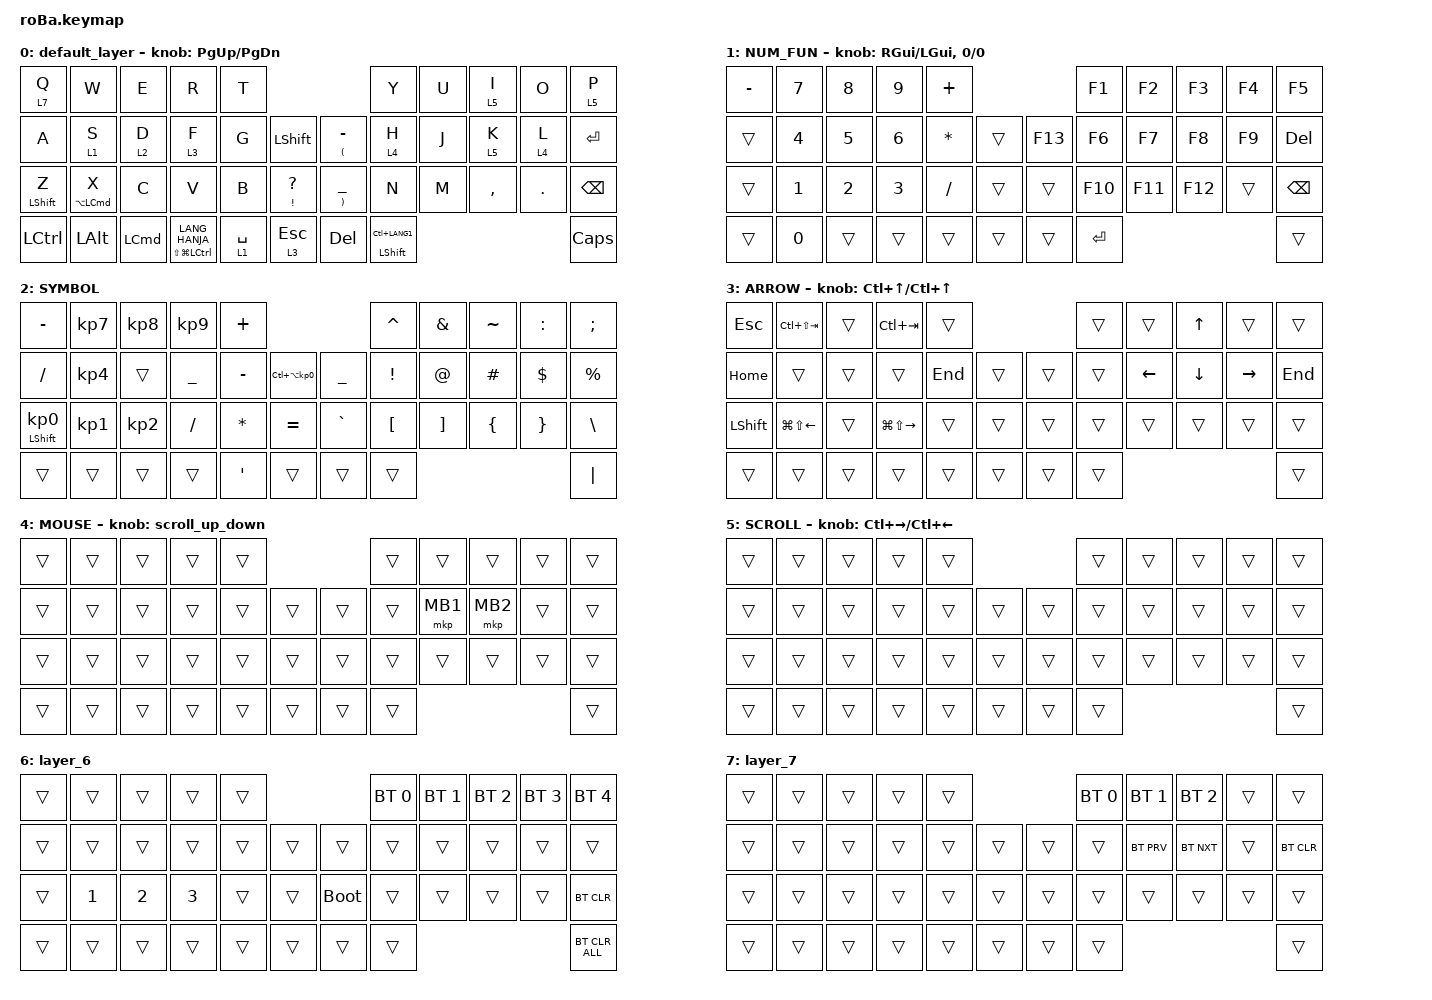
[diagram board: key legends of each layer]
#include <behaviors.dtsi>
#include <dt-bindings/zmk/bt.h>
#include <dt-bindings/zmk/keys.h>
#include <dt-bindings/zmk/pointing.h>

#define ZMK_MOUSE_DEFAULT_SCRL_VAL 140
#define MOUSE 4
#define SCROLL 5
#define NUM 6

&mt {
    flavor = "balanced";
    quick-tap-ms = <0>;
};

&inc_dec_kp {
    tap-ms = <40>;  // デフォルト5msから延長
};

&trackball {
    // automouse-layer = <4>;

    scroll-layers = <5>;

    // arrows {
    //     layers = <3>;
    //     bindings =
    //         <&kp RIGHT_ARROW>,
    //         <&kp LEFT_ARROW>,
    //         <&kp UP_ARROW>,
    //         <&kp DOWN_ARROW>;
    //     tick = <10>;
    //     wait-ms = <5>;
    //     tap-ms = <5>;
    // };
};

/ {
    combos {
        compatible = "zmk,combos";

        tab {
            bindings = <&kp TAB>;
            key-positions = <11 12>;
        };

        shift_tab {
            bindings = <&kp LS(TAB)>;
            key-positions = <12 13>;
        };

        muhennkann {
            bindings = <&to_layer_0 INT_MUHENKAN>;
            key-positions = <11 10>;
        };

        double_quotation {
            bindings = <&kp DOUBLE_QUOTES>;
            key-positions = <20 21>;
        };

        eq {
            bindings = <&kp EQUAL>;
            key-positions = <24 25>;
        };

        mouse3 {
            bindings = <&mkp MB3>;
            key-positions = <18 19>;
            layers = <4>;
        };
    };

    macros {
        to_layer_0: to_layer_0 {
            compatible = "zmk,behavior-macro-one-param";
            #binding-cells = <1>;
            bindings = <&to 0 &macro_param_1to1 &kp MACRO_PLACEHOLDER>;
            label = "TO_LAYER_0";
        };
    };

    behaviors {
        lt_to_layer_0: lt_to_layer_0 {
            compatible = "zmk,behavior-hold-tap";
            label = "LAYER_TAP_TO_0";
            bindings = <&mo>, <&to_layer_0>;

            #binding-cells = <2>;
            tapping-term-ms = <200>;
        };

        scroll_up_down: behavior_sensor_rotate_mouse_wheel_up_down {
            compatible = "zmk,behavior-sensor-rotate";
            #sensor-binding-cells = <0>;
            bindings = <&msc SCRL_UP>, <&msc SCRL_DOWN>;

            tap-ms = <20>;
        };
    };

    keymap {
        compatible = "zmk,keymap";

        default_layer {
            bindings = <
&lt 7 Q           &kp W                   &kp E             &kp R                         &kp T                                                                        &kp Y                     &kp U  &lt 5 I    &kp O    &lt 5 P
&kp A             &lt 1 S                 &lt 2 D           &lt 3 F                       &kp G        &kp LEFT_SHIFT                &mt LEFT_PARENTHESIS MINUS        &lt 4 H                   &kp J  &lt 5 K    &lt 4 L  &kp ENTER
&mt LEFT_SHIFT Z  &mt LA(LEFT_COMMAND) X  &kp C             &kp V                         &kp B        &mt EXCLAMATION QUESTION      &mt RIGHT_PARENTHESIS UNDERSCORE  &kp N                     &kp M  &kp COMMA  &kp DOT  &kp BACKSPACE
&kp LCTRL         &kp LEFT_ALT            &kp LEFT_COMMAND  &mt LS(LG(LCTRL)) LANG_HANJA  &lt 1 SPACE  &lt_to_layer_0 3 ESCAPE       &kp DELETE                        &mt LEFT_SHIFT LC(LANG1)                             &kp CAPSLOCK
            >;

            sensor-bindings = <&inc_dec_kp PG_UP PAGE_DOWN>;
        };

        NUM_FUN {
            bindings = <
&kp MINUS  &kp N7        &kp N8        &kp N9        &kp PLUS                           &kp F1     &kp F2   &kp F3   &kp F4  &kp F5
&trans     &kp NUMBER_4  &kp N5        &kp NUMBER_6  &kp ASTERISK  &trans      &kp F13  &kp F6     &kp F7   &kp F8   &kp F9  &kp DELETE
&trans     &kp NUMBER_1  &kp NUMBER_2  &kp NUMBER_3  &kp SLASH     &trans      &trans   &kp F10    &kp F11  &kp F12  &trans  &kp BACKSPACE
&trans     &kp N0        &trans        &trans        &trans        &trans      &trans   &kp ENTER                            &trans
            >;

            sensor-bindings = <&inc_dec_kp RGUI LGUI>, <&inc_dec_kp 0 0>;
        };

        SYMBOL {
            bindings = <
&kp MINUS                   &kp KP_NUMBER_7  &kp KP_NUMBER_8  &kp KP_NUMBER_9  &kp PLUS                                                       &kp CARET         &kp AMPERSAND      &kp TILDE       &kp COLON        &kp SEMI
&kp SLASH                   &kp KP_NUMBER_4  &trans           &kp UNDERSCORE   &kp MINUS         &kp LC(LA(KP_NUMBER_0))      &kp UNDERSCORE  &kp EXCLAMATION   &kp AT_SIGN        &kp HASH        &kp DOLLAR       &kp PERCENT
&mt LEFT_SHIFT KP_NUMBER_0  &kp KP_NUMBER_1  &kp KP_NUMBER_2  &kp SLASH        &kp ASTERISK      &kp EQUAL                    &kp GRAVE       &kp LEFT_BRACKET  &kp RIGHT_BRACKET  &kp LEFT_BRACE  &kp RIGHT_BRACE  &kp BACKSLASH
&trans                      &trans           &trans           &trans           &kp SINGLE_QUOTE  &trans                       &trans          &trans                                                                &kp PIPE
            >;
        };

        ARROW {
            bindings = <
&kp ESCAPE      &kp LC(LS(TAB))         &trans  &kp LC(TAB)              &trans                       &trans  &trans          &kp UP_ARROW    &trans           &trans
&kp HOME        &trans                  &trans  &trans                   &kp END  &trans      &trans  &trans  &kp LEFT_ARROW  &kp DOWN_ARROW  &kp RIGHT_ARROW  &kp END
&kp LEFT_SHIFT  &kp LG(LS(LEFT_ARROW))  &trans  &kp LG(LS(RIGHT_ARROW))  &trans   &trans      &trans  &trans  &trans          &trans          &trans           &trans
&trans          &trans                  &trans  &trans                   &trans   &trans      &trans  &trans                                                   &trans
            >;

            sensor-bindings = <&inc_dec_kp LC(UP_ARROW) LC(UP_ARROW)>;
        };

        MOUSE {
            bindings = <
&trans  &trans  &trans  &trans  &trans                      &trans  &trans    &trans    &trans  &trans
&trans  &trans  &trans  &trans  &trans  &trans      &trans  &trans  &mkp MB1  &mkp MB2  &trans  &trans
&trans  &trans  &trans  &trans  &trans  &trans      &trans  &trans  &trans    &trans    &trans  &trans
&trans  &trans  &trans  &trans  &trans  &trans      &trans  &trans                              &trans
            >;

            sensor-bindings = <&scroll_up_down>;
        };

        SCROLL {
            bindings = <
&trans  &trans  &trans  &trans  &trans                      &trans  &trans  &trans  &trans  &trans
&trans  &trans  &trans  &trans  &trans  &trans      &trans  &trans  &trans  &trans  &trans  &trans
&trans  &trans  &trans  &trans  &trans  &trans      &trans  &trans  &trans  &trans  &trans  &trans
&trans  &trans  &trans  &trans  &trans  &trans      &trans  &trans                          &trans
            >;

            sensor-bindings = <&inc_dec_kp LC(RIGHT) LC(LEFT)>;
        };

        layer_6 {
            bindings = <
&trans  &trans        &trans        &trans        &trans                           &bt BT_SEL 0  &bt BT_SEL 1  &bt BT_SEL 2  &bt BT_SEL 3  &bt BT_SEL 4
&trans  &trans        &trans        &trans        &trans  &trans      &trans       &trans        &trans        &trans        &trans        &trans
&trans  &kp NUMBER_1  &kp NUMBER_2  &kp NUMBER_3  &trans  &trans      &bootloader  &trans        &trans        &trans        &trans        &bt BT_CLR
&trans  &trans        &trans        &trans        &trans  &trans      &trans       &trans                                                  &bt BT_CLR_ALL
            >;
        };

        layer_7 {
            bindings = <
&trans  &trans  &trans  &trans  &trans                      &bt BT_SEL 0  &bt BT_SEL 1  &bt BT_SEL 2  &trans  &trans
&trans  &trans  &trans  &trans  &trans  &trans      &trans  &trans        &bt BT_PRV    &bt BT_NXT    &trans  &bt BT_CLR
&trans  &trans  &trans  &trans  &trans  &trans      &trans  &trans        &trans        &trans        &trans  &trans
&trans  &trans  &trans  &trans  &trans  &trans      &trans  &trans                                            &trans
            >;
        };
    };
};
